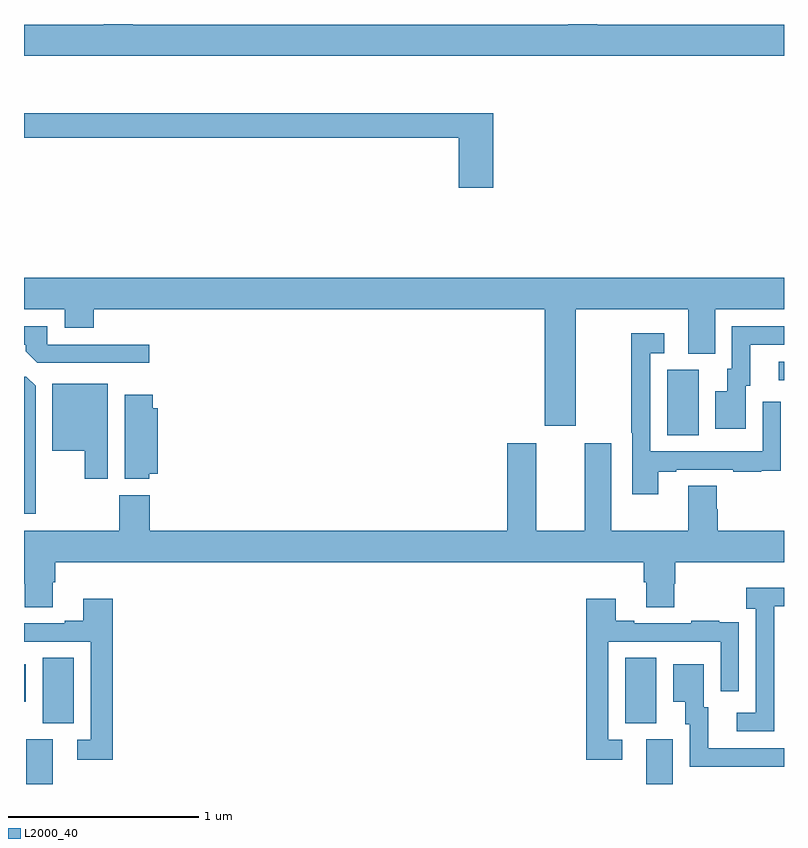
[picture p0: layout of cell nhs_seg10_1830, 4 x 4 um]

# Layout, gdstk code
import gdstk
lib = gdstk.Library(unit=1e-6, precision=1e-09)
def R(c, l, rs):  # rectangles x0, y0, x1, y1
    for r in rs: c.add(gdstk.rectangle(r[:2], r[2:], *l))
def P(c, l, *ps):  # polygons
    for p in ps: c.add(gdstk.Polygon(p, *l))
L2000_40 = (2000, 40)

nhs_seg10_1830 = lib.new_cell('nhs_seg10_1830')
R(nhs_seg10_1830, L2000_40, [(207.011,1280.5,207.151,1280.736), (210.275,1280.5,210.415,1280.736), (207.098,1280.821,207.262,1281.164), (210.164,1280.821,210.328,1281.164), (207,1280.933,207.01,1281.13), (210.386,1282.336,210.55,1282.68), (210.972,1282.626,211,1282.722)])
P(nhs_seg10_1830, L2000_40, [(211,1284.496),(210.016,1284.496),(210.016,1284.5),(209.864,1284.5),(209.864,1284.496),(207.572,1284.496),(207.572,1284.5),(207.42,1284.5),(207.42,1284.496),(207,1284.496),(207,1284.332),(211,1284.332)],
  [(209.471,1284.031),(207,1284.031),(207,1283.902),(209.288,1283.902),(209.288,1283.637),(209.471,1283.637)],
  [(209.905,1283),(210.497,1283),(210.497,1282.765),(210.637,1282.765),(210.637,1283),(211,1283),(211,1283.164),(207,1283.164),(207,1283),(207.215,1283),(207.215,1282.901),(207.368,1282.901),(207.368,1283),(209.741,1283),(209.741,1282.386),(209.905,1282.386)],
  [(207.658,1282.812),(207.123,1282.812),(207.123,1282.908),(207,1282.908),(207,1282.812),(207.008,1282.812),(207.008,1282.778),(207.069,1282.716),(207.658,1282.716)],
  [(210.799,1282.596),(210.823,1282.596),(210.823,1282.812),(211,1282.812),(211,1282.908),(210.726,1282.908),(210.726,1282.686),(210.701,1282.686),(210.701,1282.567),(210.638,1282.567),(210.638,1282.371),(210.799,1282.371)],
  [(210.337,1282.143),(210.433,1282.143),(210.433,1282.155),(210.733,1282.155),(210.733,1282.143),(210.881,1282.143),(210.881,1282.149),(210.983,1282.149),(210.983,1282.258),(210.984,1282.258),(210.984,1282.513),(210.888,1282.513),(210.888,1282.251),(210.297,1282.251),(210.297,1282.767),(210.37,1282.767),(210.37,1282.873),(210.196,1282.873),(210.196,1282.348),(210.201,1282.348),(210.201,1282.026),(210.337,1282.026)],
  [(207.061,1282.595),(207.012,1282.644),(207,1282.644),(207,1281.923),(207.061,1281.923)],
  [(207.442,1282.606),(207.149,1282.606),(207.149,1282.253),(207.32,1282.253),(207.32,1282.107),(207.442,1282.107)],
  [(207.66,1282.133),(207.703,1282.133),(207.703,1282.477),(207.677,1282.477),(207.677,1282.549),(207.53,1282.549),(207.53,1282.106),(207.66,1282.106)],
  [(207.151,1281.562),(207.164,1281.562),(207.164,1281.668),(210.263,1281.668),(210.263,1281.562),(210.275,1281.562),(210.275,1281.43),(210.423,1281.43),(210.423,1281.555),(210.428,1281.555),(210.428,1281.668),(211,1281.668),(211,1281.832),(210.65,1281.832),(210.65,1281.945),(210.645,1281.945),(210.645,1282.07),(210.497,1282.07),(210.497,1281.832),(210.091,1281.832),(210.091,1282.294),(209.951,1282.294),(209.951,1281.832),(209.695,1281.832),(209.695,1282.294),(209.543,1282.294),(209.543,1281.832),(207.662,1281.832),(207.662,1282.021),(207.502,1282.021),(207.502,1281.832),(207,1281.832),(207,1281.555),(207.004,1281.555),(207.004,1281.43),(207.151,1281.43)],
  [(210.948,1281.235),(210.949,1281.235),(210.949,1281.435),(211,1281.435),(211,1281.532),(210.801,1281.532),(210.801,1281.422),(210.852,1281.422),(210.852,1280.874),(210.75,1280.874),(210.75,1280.778),(210.948,1280.778)],
  [(210.148,1280.733),(210.075,1280.733),(210.075,1281.249),(210.666,1281.249),(210.666,1280.988),(210.762,1280.988),(210.762,1281.242),(210.761,1281.242),(210.761,1281.351),(210.659,1281.351),(210.659,1281.358),(210.511,1281.358),(210.511,1281.345),(210.211,1281.345),(210.211,1281.358),(210.115,1281.358),(210.115,1281.475),(209.959,1281.475),(209.959,1280.628),(210.148,1280.628)],
  [(207.467,1281.475),(207.311,1281.475),(207.311,1281.358),(207.215,1281.358),(207.215,1281.345),(207,1281.345),(207,1281.249),(207.351,1281.249),(207.351,1280.733),(207.279,1280.733),(207.279,1280.628),(207.467,1280.628)],
  [(211,1280.688),(210.601,1280.688),(210.601,1280.904),(210.577,1280.904),(210.577,1281.13),(210.416,1281.13),(210.416,1280.933),(210.479,1280.933),(210.479,1280.814),(210.504,1280.814),(210.504,1280.592),(211,1280.592)])

lib.write_gds('nhs_seg10_1830.gds')
